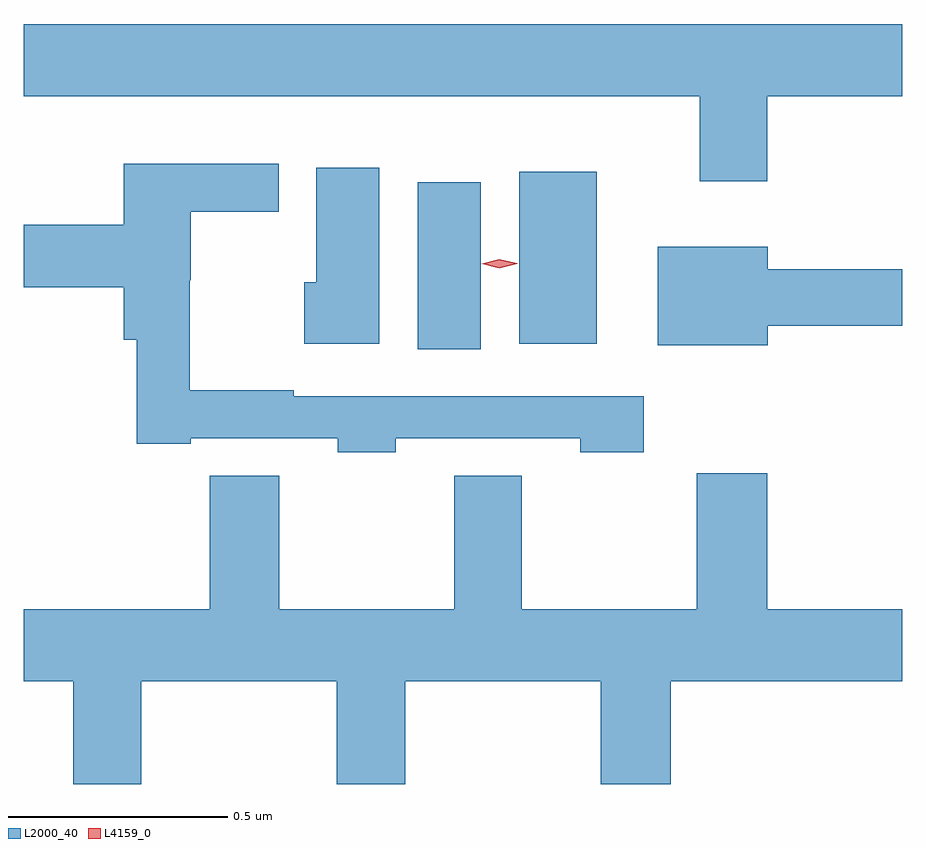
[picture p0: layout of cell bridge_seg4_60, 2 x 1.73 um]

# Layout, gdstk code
import gdstk
lib = gdstk.Library(unit=1e-6, precision=1e-09)
def R(c, l, rs):  # rectangles x0, y0, x1, y1
    for r in rs: c.add(gdstk.rectangle(r[:2], r[2:], *l))
def P(c, l, *ps):  # polygons
    for p in ps: c.add(gdstk.Polygon(p, *l))
L2000_40 = (2000, 40)
L4159_0 = (4159, 0)

bridge_seg4_60 = lib.new_cell('bridge_seg4_60')
R(bridge_seg4_60, L2000_40, [(635.327,813.56,635.47,813.94), (635.558,813.572,635.734,813.964)])
P(bridge_seg4_60, L2000_40, [(636.122,814.136),(636.43,814.136),(636.43,814.3),(634.43,814.3),(634.43,814.136),(635.969,814.136),(635.969,813.942),(636.122,813.942)],
  [(635.277,813.357),(635.697,813.357),(635.697,813.325),(635.842,813.325),(635.842,813.453),(635.045,813.453),(635.045,813.466),(634.808,813.466),(634.808,813.717),(634.81,813.717),(634.81,813.873),(635.011,813.873),(635.011,813.982),(634.658,813.982),(634.658,813.843),(634.43,813.843),(634.43,813.701),(634.658,813.701),(634.658,813.581),(634.687,813.581),(634.687,813.345),(634.81,813.345),(634.81,813.357),(635.145,813.357),(635.145,813.325),(635.277,813.325)],
  [(635.239,813.973),(635.096,813.973),(635.096,813.712),(635.069,813.712),(635.069,813.572),(635.239,813.572)],
  [(636.124,813.613),(636.43,813.613),(636.43,813.742),(636.124,813.742),(636.124,813.793),(635.873,813.793),(635.873,813.569),(636.124,813.569)],
  [(634.698,812.804),(635.143,812.804),(635.143,812.57),(635.298,812.57),(635.298,812.804),(635.743,812.804),(635.743,812.57),(635.903,812.57),(635.903,812.804),(636.43,812.804),(636.43,812.968),(636.122,812.968),(636.122,813.277),(635.962,813.277),(635.962,812.968),(635.564,812.968),(635.564,813.272),(635.41,813.272),(635.41,812.968),(635.012,812.968),(635.012,813.272),(634.853,813.272),(634.853,812.968),(634.43,812.968),(634.43,812.804),(634.543,812.804),(634.543,812.57),(634.698,812.57)])
P(bridge_seg4_60, L4159_0, [(635.513,813.744),(635.473,813.754),(635.472,813.754),(635.473,813.754),(635.513,813.764),(635.554,813.755),(635.554,813.754),(635.554,813.754)])

lib.write_gds('bridge_seg4_60.gds')
